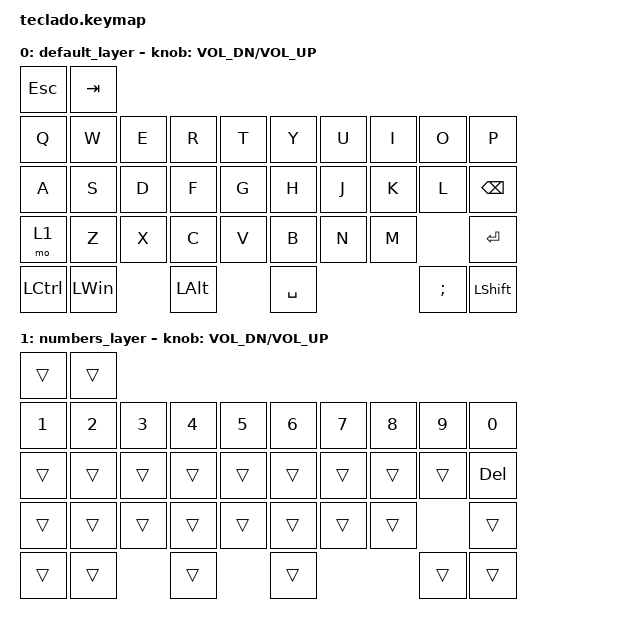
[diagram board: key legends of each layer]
#include <behaviors.dtsi>
#include <dt-bindings/zmk/keys.h>
#include <dt-bindings/zmk/outputs.h>

/ {
    keymaps {
        compatible = "zmk,keymap";

        default_layer {
            // Capa 0: Base
            bindings = <
                &kp ESC      &kp TAB
                &kp Q        &kp W        &kp E        &kp R        &kp T        &kp Y        &kp U        &kp I        &kp O        &kp P
                &kp A        &kp S        &kp D        &kp F        &kp G        &kp H        &kp J        &kp K        &kp L        &kp BSPC
                &mo 1        &kp Z        &kp X        &kp C        &kp V        &kp B        &kp N        &kp M                     &kp ENTER
                &kp LCTRL    &kp LWIN                  &kp LALT                  &kp SPACE                              &kp SEMI     &kp LSHFT
            >;

            sensor-bindings = <&inc_dec_kp C_VOL_DN C_VOL_UP>;
        };

        numbers_layer {
            // Capa 1: Números (Activada con la tecla 'MAYUSCULA' / mo 1)
            bindings = <
                &trans       &trans
                &kp N1       &kp N2       &kp N3       &kp N4       &kp N5       &kp N6       &kp N7       &kp N8       &kp N9       &kp N0
                &trans       &trans       &trans       &trans       &trans       &trans       &trans       &trans       &trans       &kp DEL
                &trans       &trans       &trans       &trans       &trans       &trans       &trans       &trans                    &trans
                &trans       &trans                    &trans                    &trans                                 &trans       &trans
            >;

            sensor-bindings = <&inc_dec_kp C_VOL_DN C_VOL_UP>;
        };
    };
};
